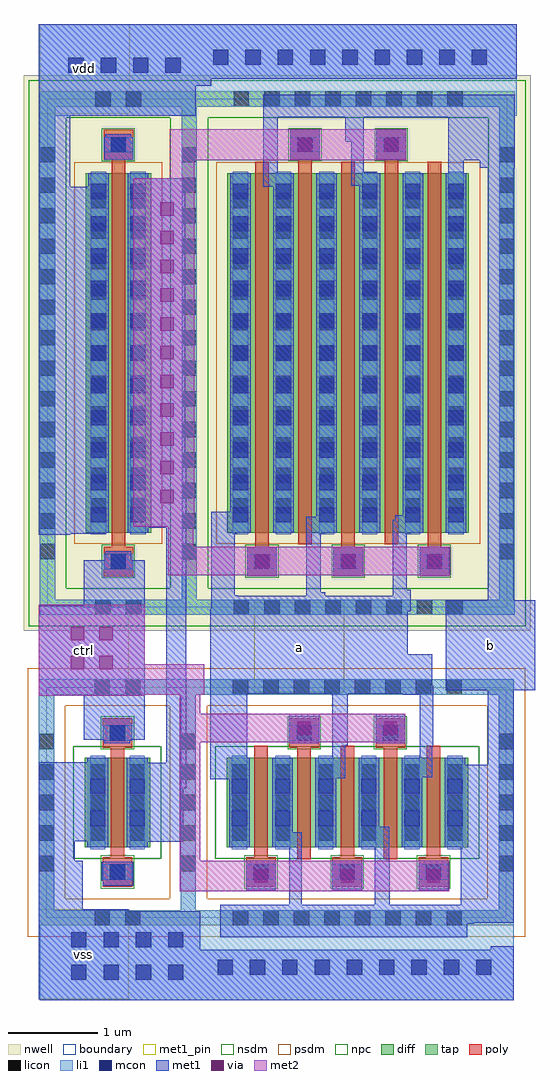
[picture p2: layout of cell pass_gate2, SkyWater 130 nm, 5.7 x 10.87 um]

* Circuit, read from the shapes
.subckt pass_gate2 a b ctrl vdd vss
XM1 n1 ctrl vss vss sky130_fd_pr__nfet_01v8 w=1 l=0.15
XM2 b ctrl a vss sky130_fd_pr__nfet_01v8 w=1 l=0.15 m=5
XM3 n1 ctrl vdd vdd sky130_fd_pr__pfet_01v8 w=4 l=0.15
XM4 b n1 a vdd sky130_fd_pr__pfet_01v8 w=4 l=0.15 m=5
.ends

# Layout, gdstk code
import gdstk
lib = gdstk.Library(unit=1e-6, precision=1e-09)
def R(c, l, rs):  # rectangles x0, y0, x1, y1
    for r in rs: c.add(gdstk.rectangle(r[:2], r[2:], *l))
def A(c, l, x, y, w, h, nx, ny, dx, dy):  # array of equal rectangles
    R(c, l, [(x+i*dx, y+j*dy, x+i*dx+w, y+j*dy+h) for i in range(nx) for j in range(ny)])
nwell = (64, 20)
diff = (65, 20)
tap = (65, 44)
poly = (66, 20)
licon = (66, 44)
li1 = (67, 20)
mcon = (67, 44)
met1_pin = (68, 16)
met1 = (68, 20)
via = (68, 44)
met2 = (69, 20)
nsdm = (93, 44)
psdm = (94, 20)
npc = (95, 20)
boundary = (235, 4)

sky130_fd_pr__pfet_01v8_ = lib.new_cell('sky130_fd_pr__pfet_01v8_XGASDL')
R(sky130_fd_pr__pfet_01v8_, nwell, [(-1.055,-3.095,1.055,3.095)])
R(sky130_fd_pr__pfet_01v8_, diff, [(-0.365,-2,0.365,2)])
R(sky130_fd_pr__pfet_01v8_, tap, [(-0.875,-2.915,0.875,-2.745), (-0.875,-2.745,-0.705,2.745), (0.705,-2.745,0.875,2.745), (-0.875,2.745,0.875,2.915)])
R(sky130_fd_pr__pfet_01v8_, poly, [(-0.165,-2.485,0.165,-2.155), (-0.075,-2.155,0.075,2.155), (-0.165,2.155,0.165,2.485)])
A(sky130_fd_pr__pfet_01v8_, licon, -0.875, -2.295, 0.17, 0.17, 1, 14, 0, 0.34)
A(sky130_fd_pr__pfet_01v8_, licon, 0.705, -2.295, 0.17, 0.17, 1, 14, 0, 0.34)
A(sky130_fd_pr__pfet_01v8_, licon, -0.305, -1.785, 0.17, 0.17, 1, 11, 0, 0.34)
A(sky130_fd_pr__pfet_01v8_, licon, 0.135, -1.785, 0.17, 0.17, 1, 11, 0, 0.34)
R(sky130_fd_pr__pfet_01v8_, licon, [(-0.255,-2.915,-0.085,-2.745), (0.085,-2.915,0.255,-2.745), (-0.085,-2.405,0.085,-2.235), (-0.085,2.235,0.085,2.405), (-0.255,2.745,-0.085,2.915), (0.085,2.745,0.255,2.915)])
R(sky130_fd_pr__pfet_01v8_, li1, [(-0.875,-2.915,0.875,-2.745), (-0.875,-2.745,-0.705,2.745), (0.705,-2.745,0.875,2.745), (-0.165,-2.405,0.165,-2.235), (-0.305,-2.02,-0.135,2.02), (0.135,-2.02,0.305,2.02), (-0.165,2.235,0.165,2.405), (-0.875,2.745,0.875,2.915)])
A(sky130_fd_pr__pfet_01v8_, mcon, -0.305, -1.885, 0.17, 0.17, 1, 11, 0, 0.36)
A(sky130_fd_pr__pfet_01v8_, mcon, 0.135, -1.885, 0.17, 0.17, 1, 11, 0, 0.36)
R(sky130_fd_pr__pfet_01v8_, mcon, [(-0.085,-2.405,0.085,-2.235), (-0.085,2.235,0.085,2.405)])
R(sky130_fd_pr__pfet_01v8_, met1, [(-0.145,-2.435,0.145,-2.205), (-0.335,-2,-0.105,2), (0.105,-2,0.335,2), (-0.145,2.205,0.145,2.435)])
R(sky130_fd_pr__pfet_01v8_, nsdm, [(-1,-3.04,1,-2.62), (-1,-2.62,-0.58,2.62), (0.58,-2.62,1,2.62), (-1,2.62,1,3.04)])
R(sky130_fd_pr__pfet_01v8_, psdm, [(-0.49,-2.125,0.49,2.125)])
R(sky130_fd_pr__pfet_01v8_, npc, [(-0.185,-2.505,0.185,-2.135), (-0.185,2.135,0.185,2.505)])
R(sky130_fd_pr__pfet_01v8_, boundary, [(-0.79,-2.83,0.79,2.83)])

sky130_fd_pr__nfet_01v8_ = lib.new_cell('sky130_fd_pr__nfet_01v8_648S5X')
R(sky130_fd_pr__nfet_01v8_, diff, [(-0.365,-0.5,0.365,0.5)])
R(sky130_fd_pr__nfet_01v8_, tap, [(-0.875,-1.37,0.875,-1.2), (-0.875,-1.2,-0.705,1.2), (0.705,-1.2,0.875,1.2), (-0.875,1.2,0.875,1.37)])
R(sky130_fd_pr__nfet_01v8_, poly, [(-0.165,-0.94,0.165,-0.61), (-0.075,-0.61,0.075,0.61), (-0.165,0.61,0.165,0.94)])
A(sky130_fd_pr__nfet_01v8_, licon, -0.875, -0.765, 0.17, 0.17, 1, 5, 0, 0.34)
A(sky130_fd_pr__nfet_01v8_, licon, 0.705, -0.765, 0.17, 0.17, 1, 5, 0, 0.34)
A(sky130_fd_pr__nfet_01v8_, licon, -0.305, -0.425, 0.17, 0.17, 1, 3, 0, 0.34)
A(sky130_fd_pr__nfet_01v8_, licon, 0.135, -0.425, 0.17, 0.17, 1, 3, 0, 0.34)
R(sky130_fd_pr__nfet_01v8_, licon, [(-0.255,-1.37,-0.085,-1.2), (0.085,-1.37,0.255,-1.2), (-0.085,-0.86,0.085,-0.69), (-0.085,0.69,0.085,0.86), (-0.255,1.2,-0.085,1.37), (0.085,1.2,0.255,1.37)])
R(sky130_fd_pr__nfet_01v8_, li1, [(-0.875,-1.37,0.875,-1.2), (-0.875,-1.2,-0.705,1.2), (0.705,-1.2,0.875,1.2), (-0.165,-0.86,0.165,-0.69), (-0.305,-0.52,-0.135,0.52), (0.135,-0.52,0.305,0.52), (-0.165,0.69,0.165,0.86), (-0.875,1.2,0.875,1.37)])
R(sky130_fd_pr__nfet_01v8_, mcon, [(-0.085,-0.86,0.085,-0.69), (-0.305,-0.265,-0.135,-0.095), (0.135,-0.265,0.305,-0.095), (-0.305,0.095,-0.135,0.265), (0.135,0.095,0.305,0.265), (-0.085,0.69,0.085,0.86)])
R(sky130_fd_pr__nfet_01v8_, met1, [(-0.145,-0.89,0.145,-0.66), (-0.335,-0.5,-0.105,0.5), (0.105,-0.5,0.335,0.5), (-0.145,0.66,0.145,0.89)])
R(sky130_fd_pr__nfet_01v8_, nsdm, [(-0.49,-0.625,0.49,0.625)])
R(sky130_fd_pr__nfet_01v8_, psdm, [(-1,-1.495,1,-1.075), (-1,-1.075,-0.58,1.075), (0.58,-1.075,1,1.075), (-1,1.075,1,1.495)])
R(sky130_fd_pr__nfet_01v8_, npc, [(-0.185,-0.96,0.185,-0.59), (-0.185,0.59,0.185,0.96)])
R(sky130_fd_pr__nfet_01v8_, boundary, [(-0.79,-1.285,0.79,1.285)])

c_sky130_fd_pr__pfet_01v8_ = lib.new_cell('sky130_fd_pr__pfet_01v8_XGSNAL')
R(c_sky130_fd_pr__pfet_01v8_, nwell, [(-2.035,-3.095,2.035,3.095)])
R(c_sky130_fd_pr__pfet_01v8_, diff, [(-1.345,-2,1.345,2)])
R(c_sky130_fd_pr__pfet_01v8_, tap, [(-1.855,-2.915,1.855,-2.745), (-1.855,-2.745,-1.685,2.745), (1.685,-2.745,1.855,2.745), (-1.855,2.745,1.855,2.915)])
A(c_sky130_fd_pr__pfet_01v8_, poly, -1.125, -2.485, 0.33, 0.33, 3, 1, 0.96, 0)
A(c_sky130_fd_pr__pfet_01v8_, poly, -1.035, -2.155, 0.15, 4.285, 3, 1, 0.96, 0)
R(c_sky130_fd_pr__pfet_01v8_, poly, [(-0.555,-2.13,-0.405,2.155), (0.405,-2.13,0.555,2.155), (-0.645,2.155,-0.315,2.485), (0.315,2.155,0.645,2.485)])
A(c_sky130_fd_pr__pfet_01v8_, licon, -1.275, -2.915, 0.17, 0.17, 8, 2, 0.34, 5.66)
A(c_sky130_fd_pr__pfet_01v8_, licon, -1.045, -2.405, 0.17, 0.17, 3, 1, 0.96, 0)
A(c_sky130_fd_pr__pfet_01v8_, licon, -1.855, -2.295, 0.17, 0.17, 1, 14, 0, 0.34)
A(c_sky130_fd_pr__pfet_01v8_, licon, 1.685, -2.295, 0.17, 0.17, 1, 14, 0, 0.34)
A(c_sky130_fd_pr__pfet_01v8_, licon, -1.285, -1.785, 0.17, 0.17, 6, 11, 0.48, 0.34)
R(c_sky130_fd_pr__pfet_01v8_, licon, [(-0.565,2.235,-0.395,2.405), (0.395,2.235,0.565,2.405)])
A(c_sky130_fd_pr__pfet_01v8_, li1, -1.125, -2.405, 0.33, 0.17, 3, 1, 0.96, 0)
A(c_sky130_fd_pr__pfet_01v8_, li1, -1.285, -2.02, 0.17, 4.04, 6, 1, 0.48, 0)
R(c_sky130_fd_pr__pfet_01v8_, li1, [(-1.855,-2.915,1.855,-2.745), (-1.855,-2.745,-1.685,2.745), (1.685,-2.745,1.855,2.745), (-0.645,2.235,-0.315,2.405), (0.315,2.235,0.645,2.405), (-1.855,2.745,1.855,2.915)])
A(c_sky130_fd_pr__pfet_01v8_, mcon, -1.045, -2.405, 0.17, 0.17, 3, 1, 0.96, 0)
A(c_sky130_fd_pr__pfet_01v8_, mcon, -1.285, -1.885, 0.17, 0.17, 6, 11, 0.48, 0.36)
R(c_sky130_fd_pr__pfet_01v8_, mcon, [(-0.565,2.235,-0.395,2.405), (0.395,2.235,0.565,2.405)])
A(c_sky130_fd_pr__pfet_01v8_, met1, -1.105, -2.435, 0.29, 0.23, 3, 1, 0.96, 0)
A(c_sky130_fd_pr__pfet_01v8_, met1, -1.315, -2, 0.23, 4, 6, 1, 0.48, 0)
R(c_sky130_fd_pr__pfet_01v8_, met1, [(-0.625,2.205,-0.335,2.435), (0.335,2.205,0.625,2.435)])
R(c_sky130_fd_pr__pfet_01v8_, nsdm, [(-1.98,-3.04,1.98,-2.62), (-1.98,-2.62,-1.56,2.62), (1.56,-2.62,1.98,2.62), (-1.98,2.62,1.98,3.04)])
R(c_sky130_fd_pr__pfet_01v8_, psdm, [(-1.47,-2.125,1.47,2.125)])
A(c_sky130_fd_pr__pfet_01v8_, npc, -1.145, -2.505, 0.37, 0.37, 3, 1, 0.96, 0)
R(c_sky130_fd_pr__pfet_01v8_, npc, [(-0.665,2.135,-0.295,2.505), (0.295,2.135,0.665,2.505)])
R(c_sky130_fd_pr__pfet_01v8_, boundary, [(-1.77,-2.83,1.77,2.83)])

c_sky130_fd_pr__nfet_01v8_ = lib.new_cell('sky130_fd_pr__nfet_01v8_ATLS57')
R(c_sky130_fd_pr__nfet_01v8_, diff, [(-1.345,-0.5,1.345,0.5)])
R(c_sky130_fd_pr__nfet_01v8_, tap, [(-1.855,-1.37,1.855,-1.2), (-1.855,-1.2,-1.685,1.2), (1.685,-1.2,1.855,1.2), (-1.855,1.2,1.855,1.37)])
A(c_sky130_fd_pr__nfet_01v8_, poly, -1.125, -0.94, 0.33, 0.33, 3, 1, 0.96, 0)
A(c_sky130_fd_pr__nfet_01v8_, poly, -1.035, -0.61, 0.15, 1.24, 3, 1, 0.96, 0)
R(c_sky130_fd_pr__nfet_01v8_, poly, [(-0.555,-0.63,-0.405,0.61), (0.405,-0.63,0.555,0.61), (-0.645,0.61,-0.315,0.94), (0.315,0.61,0.645,0.94)])
A(c_sky130_fd_pr__nfet_01v8_, licon, -1.275, -1.37, 0.17, 0.17, 8, 2, 0.34, 2.57)
A(c_sky130_fd_pr__nfet_01v8_, licon, -1.045, -0.86, 0.17, 0.17, 3, 1, 0.96, 0)
A(c_sky130_fd_pr__nfet_01v8_, licon, -1.855, -0.765, 0.17, 0.17, 1, 5, 0, 0.34)
A(c_sky130_fd_pr__nfet_01v8_, licon, 1.685, -0.765, 0.17, 0.17, 1, 5, 0, 0.34)
A(c_sky130_fd_pr__nfet_01v8_, licon, -1.285, -0.425, 0.17, 0.17, 6, 3, 0.48, 0.34)
R(c_sky130_fd_pr__nfet_01v8_, licon, [(-0.565,0.69,-0.395,0.86), (0.395,0.69,0.565,0.86)])
A(c_sky130_fd_pr__nfet_01v8_, li1, -1.125, -0.86, 0.33, 0.17, 3, 1, 0.96, 0)
A(c_sky130_fd_pr__nfet_01v8_, li1, -1.285, -0.52, 0.17, 1.04, 6, 1, 0.48, 0)
R(c_sky130_fd_pr__nfet_01v8_, li1, [(-1.855,-1.37,1.855,-1.2), (-1.855,-1.2,-1.685,1.2), (1.685,-1.2,1.855,1.2), (-0.645,0.69,-0.315,0.86), (0.315,0.69,0.645,0.86), (-1.855,1.2,1.855,1.37)])
A(c_sky130_fd_pr__nfet_01v8_, mcon, -1.045, -0.86, 0.17, 0.17, 3, 1, 0.96, 0)
A(c_sky130_fd_pr__nfet_01v8_, mcon, -1.285, -0.265, 0.17, 0.17, 6, 2, 0.48, 0.36)
R(c_sky130_fd_pr__nfet_01v8_, mcon, [(-0.565,0.69,-0.395,0.86), (0.395,0.69,0.565,0.86)])
A(c_sky130_fd_pr__nfet_01v8_, met1, -1.105, -0.89, 0.29, 0.23, 3, 1, 0.96, 0)
A(c_sky130_fd_pr__nfet_01v8_, met1, -1.315, -0.5, 0.23, 1, 6, 1, 0.48, 0)
R(c_sky130_fd_pr__nfet_01v8_, met1, [(-0.625,0.66,-0.335,0.89), (0.335,0.66,0.625,0.89)])
R(c_sky130_fd_pr__nfet_01v8_, nsdm, [(-1.47,-0.625,1.47,0.625)])
R(c_sky130_fd_pr__nfet_01v8_, psdm, [(-1.98,-1.495,1.98,-1.075), (-1.98,-1.075,-1.56,1.075), (1.56,-1.075,1.98,1.075), (-1.98,1.075,1.98,1.495)])
A(c_sky130_fd_pr__nfet_01v8_, npc, -1.145, -0.96, 0.37, 0.37, 3, 1, 0.96, 0)
R(c_sky130_fd_pr__nfet_01v8_, npc, [(-0.665,0.59,-0.295,0.96), (0.295,0.59,0.665,0.96)])
R(c_sky130_fd_pr__nfet_01v8_, boundary, [(-1.77,-1.285,1.77,1.285)])

pass_gate2 = lib.new_cell('pass_gate2')
R(pass_gate2, li1, [(7.09,-5.59,12.37,-4.6), (7.08,4.26,8.71,4.52), (12.29,4.26,12.4,4.52), (7.08,4.52,12.4,5.28)])
A(pass_gate2, mcon, 7.44, -5.365, 0.17, 0.17, 4, 2, 0.36, 0.36)
A(pass_gate2, mcon, 9.07, -5.31, 0.17, 0.17, 9, 1, 0.36, 0)
A(pass_gate2, mcon, 7.41, 4.735, 0.17, 0.17, 4, 1, 0.36, 0)
A(pass_gate2, mcon, 9.02, 4.825, 0.17, 0.17, 9, 1, 0.36, 0)
R(pass_gate2, met1_pin, [(7.08,-5.58,8.08,-4.58), (7.08,-2.2,8.08,-1.2), (9.48,-2.16,10.48,-1.16), (11.61,-2.14,12.61,-1.14), (7.09,4.28,8.09,5.28)])
A(pass_gate2, met1, 9.39, -4.37, 0.33, 0.33, 3, 1, 0.96, 0)
A(pass_gate2, met1, 9.4, -0.87, 0.33, 0.33, 3, 1, 0.96, 0)
R(pass_gate2, met1, [(7.09,-5.59,12.37,-5.58), (7.08,-5.58,12.37,-5.03), (7.08,-5.03,8.88,-4.6), (12.11,-5.03,12.37,-4.99), (9.1,-4.89,11.85,-4.74), (9.1,-4.74,11.93,-4.73), (9.1,-4.73,12.37,-4.53), (7.08,-4.6,8.08,-4.58), (7.08,-4.58,7.57,-4.04), (9.87,-4.53,10.01,-3.72), (10.82,-4.53,10.99,-4.04), (11.78,-4.53,12.37,-3.89), (7.79,-4.32,8.13,-4.26), (7.78,-4.26,8.13,-4.05), (7.08,-4.04,7.48,-3.82), (10.82,-4.04,10.98,-3.89), (10.8,-3.89,10.98,-3.66), (11.76,-3.89,12.37,-3.84), (11.65,-3.84,12.37,-2.97), (8.09,-3.83,8.69,-3.23), (7.08,-3.82,7.82,-2.94), (8.09,-3.23,8.72,-2.95), (8.99,-3.13,9.4,-2.18), (10.37,-3.12,10.49,-2.98), (11.32,-3.11,11.46,-2.75), (10.35,-2.98,10.49,-2.75), (12.08,-2.97,12.37,-2.14), (8.5,-2.95,8.72,-0.33), (10.35,-2.75,10.52,-2.18), (11.32,-2.75,11.47,-2.19), (9.87,-2.73,10.2,-2.4), (10.83,-2.73,11.16,-2.4), (7.58,-2.69,8.26,-2.2), (7.08,-2.2,8.26,-1.2), (11.14,-2.19,11.47,-2.18), (8.99,-2.18,11.47,-2.09), (11.61,-2.14,12.61,-1.14), (8.99,-2.09,11.46,-1.74), (8.99,-1.74,11.19,-1.26), (8.99,-1.26,11.22,-1.23), (9,-1.23,11.22,-1.09), (7.58,-1.2,8.26,-0.69), (12.08,-1.14,12.37,3.68), (9,-1.09,9.29,-1.08), (10.06,-1.09,10.27,-1.05), (11.02,-1.09,11.22,-1.02), (9,-1.08,9.26,-0.4), (10.06,-1.05,10.22,-0.39), (11.02,-1.02,11.18,-0.39), (7.08,-0.41,7.43,-0.4), (7.08,-0.4,7.83,3.47), (9,-0.4,9.29,-0.15), (10.06,-0.39,10.27,-0.21), (11.02,-0.39,11.22,-0.24), (8.1,-0.33,8.72,0.38), (11.65,-0.32,11.81,3.5), (11.05,-0.24,11.22,-0.19), (8.1,0.38,8.71,3.56), (7.08,3.47,7.43,4.26), (9.58,3.47,9.74,4.24), (10.56,3.48,10.77,3.51), (11.64,3.5,11.81,3.76), (10.56,3.51,10.85,3.63), (10.56,3.63,10.7,3.97), (11.99,3.68,12.38,3.76), (11.64,3.76,12.38,4.24), (7.81,3.77,8.13,4.02), (9.88,3.77,10.21,4.1), (10.84,3.77,11.17,4.1), (10.49,3.97,10.7,4.24), (9.58,4.24,12.38,4.49), (7.08,4.26,8.83,4.59), (7.08,4.59,9,4.67), (7.08,4.67,12.4,5.28)])
A(pass_gate2, via, 9.48, -4.285, 0.15, 0.15, 3, 1, 0.96, 0)
A(pass_gate2, via, 8.43, -0.055, 0.15, 0.15, 1, 11, 0, 0.32)
R(pass_gate2, via, [(9.96,-2.635,10.11,-2.485), (10.92,-2.635,11.07,-2.485), (7.435,-1.905,7.585,-1.755), (7.755,-1.905,7.905,-1.755), (7.435,-1.585,7.585,-1.435), (7.755,-1.585,7.905,-1.435), (10.45,-0.78,10.6,-0.63), (11.41,-0.78,11.56,-0.63), (9.495,-0.775,9.645,-0.625), (9.97,3.86,10.12,4.01), (10.93,3.86,11.08,4.01)])
A(pass_gate2, met2, 9.4, -0.87, 0.33, 0.01, 3, 1, 0.96, 0)
R(pass_gate2, met2, [(8.65,-4.38,11.65,-4.04), (8.65,-4.04,8.88,-2.72), (9.87,-2.73,10.2,-2.72), (10.83,-2.73,11.16,-2.72), (8.65,-2.72,11.16,-2.4), (8.65,-2.4,8.88,-2.19), (7.08,-2.2,8.26,-2.19), (7.08,-2.19,8.92,-1.85), (7.08,-1.85,8.26,-1.19), (8.52,-0.86,11.66,-0.54), (8.52,-0.54,8.8,-0.32), (8.13,-0.32,8.81,3.56), (8.54,3.56,8.81,3.76), (8.54,3.76,11.17,4.11)])
pass_gate2.add(gdstk.Reference(sky130_fd_pr__pfet_01v8_, (7.965,1.615)))
pass_gate2.add(gdstk.Reference(sky130_fd_pr__nfet_01v8_, (7.955,-3.39)))
pass_gate2.add(gdstk.Reference(c_sky130_fd_pr__pfet_01v8_, (10.525,1.615)))
pass_gate2.add(gdstk.Reference(c_sky130_fd_pr__nfet_01v8_, (10.515,-3.39)))
pass_gate2.add(gdstk.Label('vdd', (7.59,4.78), layer=68, texttype=5))
pass_gate2.add(gdstk.Label('ctrl', (7.58,-1.7), layer=68, texttype=5))
pass_gate2.add(gdstk.Label('a', (9.98,-1.66), layer=68, texttype=5))
pass_gate2.add(gdstk.Label('b', (12.11,-1.64), layer=68, texttype=5))
pass_gate2.add(gdstk.Label('vss', (7.58,-5.08), layer=68, texttype=5))

lib.write_gds('pass_gate2.gds')
